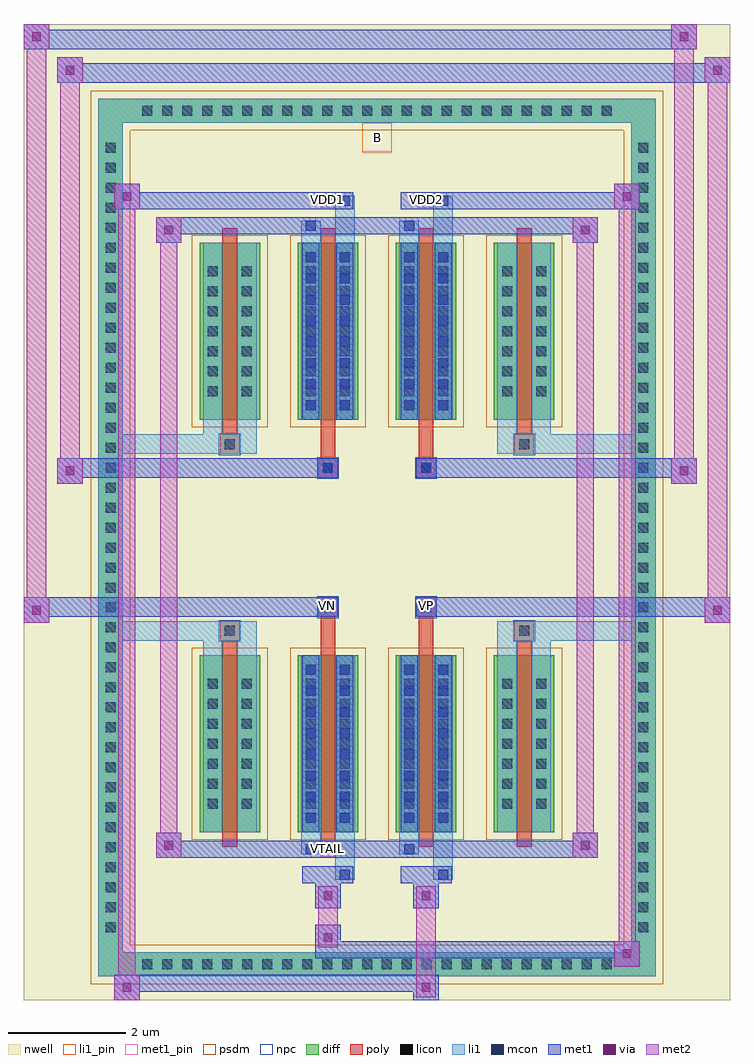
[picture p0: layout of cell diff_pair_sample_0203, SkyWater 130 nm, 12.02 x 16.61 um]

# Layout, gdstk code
import gdstk
lib = gdstk.Library(unit=1e-6, precision=5e-09)
def R(c, l, rs):  # rectangles x0, y0, x1, y1
    for r in rs: c.add(gdstk.rectangle(r[:2], r[2:], *l))
def A(c, l, x, y, w, h, nx, ny, dx, dy):  # array of equal rectangles
    R(c, l, [(x+i*dx, y+j*dy, x+i*dx+w, y+j*dy+h) for i in range(nx) for j in range(ny)])
def P(c, l, *ps):  # polygons
    for p in ps: c.add(gdstk.Polygon(p, *l))
nwell = (64, 20)
diff = (65, 20)
poly = (66, 20)
licon = (66, 44)
li1_pin = (67, 16)
li1 = (67, 20)
mcon = (67, 44)
met1_pin = (68, 16)
met1 = (68, 20)
via = (68, 44)
met2 = (69, 20)
psdm = (94, 20)
npc = (95, 20)

diff_pair_sample_0203 = lib.new_cell('diff_pair_sample_0203')
R(diff_pair_sample_0203, nwell, [(-6.01,-7.87,6.01,8.74), (-3.33,-6.06,-0.01,-0.82), (0.01,-6.06,3.33,-0.82), (-3.33,0.82,-0.01,6.06), (0.01,0.82,3.33,6.06)])
A(diff_pair_sample_0203, diff, -4.115, -7.47, 0.41, 0.41, 24, 2, 0.34, 14.53)
A(diff_pair_sample_0203, diff, -4.74, -6.835, 0.41, 0.41, 1, 40, 0, 0.34)
A(diff_pair_sample_0203, diff, 4.33, -6.835, 0.41, 0.41, 1, 40, 0, 0.34)
A(diff_pair_sample_0203, diff, -3.02, -5.015, 1.03, 3.01, 4, 2, 1.67, 7.02)
R(diff_pair_sample_0203, diff, [(-4.115,-7.47,4.115,-7.06), (-4.74,-6.835,-4.33,6.835), (4.33,-6.835,4.74,6.835), (-4.115,7.06,4.115,7.47)])
P(diff_pair_sample_0203, diff, [(4.74,7.47),(-4.74,7.47),(-4.74,-7.06),(-4.33,-7.06),(-4.33,7.06),(4.33,7.06),(4.33,-7.06),(-4.33,-7.06),(-4.74,-7.06),(-4.74,-7.47),(4.74,-7.47)])
A(diff_pair_sample_0203, poly, -2.63, -5.265, 0.25, 3.51, 4, 2, 1.67, 7.02)
R(diff_pair_sample_0203, poly, [(-2.67,-1.755,-2.34,-1.425), (-2.67,-1.755,-2.34,-1.425), (-0.96,-1.755,-0.71,-1.35), (0.71,-1.755,0.96,-1.35), (2.34,-1.755,2.67,-1.425), (2.34,-1.755,2.67,-1.425), (-1,-1.35,-0.67,-1.02), (-1,-1.35,-0.67,-1.02), (0.67,-1.35,1,-1.02), (0.67,-1.35,1,-1.02), (-1,1.02,-0.67,1.35), (-1,1.02,-0.67,1.35), (0.67,1.02,1,1.35), (0.67,1.02,1,1.35), (-0.96,1.35,-0.71,1.755), (0.71,1.35,0.96,1.755), (-2.67,1.425,-2.34,1.755), (-2.67,1.425,-2.34,1.755), (2.34,1.425,2.67,1.755), (2.34,1.425,2.67,1.755)])
A(diff_pair_sample_0203, licon, -3.995, -7.35, 0.17, 0.17, 24, 2, 0.34, 14.53)
A(diff_pair_sample_0203, licon, -4.62, -6.715, 0.17, 0.17, 1, 40, 0, 0.34)
A(diff_pair_sample_0203, licon, 4.45, -6.715, 0.17, 0.17, 1, 40, 0, 0.34)
A(diff_pair_sample_0203, licon, -2.88, -4.615, 0.17, 0.17, 1, 7, 0, 0.34)
A(diff_pair_sample_0203, licon, -2.3, -4.615, 0.17, 0.17, 1, 7, 0, 0.34)
A(diff_pair_sample_0203, licon, -1.21, -4.615, 0.17, 0.17, 1, 7, 0, 0.34)
A(diff_pair_sample_0203, licon, -0.63, -4.615, 0.17, 0.17, 1, 7, 0, 0.34)
A(diff_pair_sample_0203, licon, 0.46, -4.615, 0.17, 0.17, 1, 7, 0, 0.34)
A(diff_pair_sample_0203, licon, 1.04, -4.615, 0.17, 0.17, 1, 7, 0, 0.34)
A(diff_pair_sample_0203, licon, 2.13, -4.615, 0.17, 0.17, 1, 7, 0, 0.34)
A(diff_pair_sample_0203, licon, 2.71, -4.615, 0.17, 0.17, 1, 7, 0, 0.34)
A(diff_pair_sample_0203, licon, -2.88, 2.405, 0.17, 0.17, 1, 7, 0, 0.34)
A(diff_pair_sample_0203, licon, -2.3, 2.405, 0.17, 0.17, 1, 7, 0, 0.34)
A(diff_pair_sample_0203, licon, -1.21, 2.405, 0.17, 0.17, 1, 7, 0, 0.34)
A(diff_pair_sample_0203, licon, -0.63, 2.405, 0.17, 0.17, 1, 7, 0, 0.34)
A(diff_pair_sample_0203, licon, 0.46, 2.405, 0.17, 0.17, 1, 7, 0, 0.34)
A(diff_pair_sample_0203, licon, 1.04, 2.405, 0.17, 0.17, 1, 7, 0, 0.34)
A(diff_pair_sample_0203, licon, 2.13, 2.405, 0.17, 0.17, 1, 7, 0, 0.34)
A(diff_pair_sample_0203, licon, 2.71, 2.405, 0.17, 0.17, 1, 7, 0, 0.34)
R(diff_pair_sample_0203, licon, [(-2.59,-1.675,-2.42,-1.505), (2.42,-1.675,2.59,-1.505), (-0.92,-1.27,-0.75,-1.1), (0.75,-1.27,0.92,-1.1), (-0.92,1.1,-0.75,1.27), (0.75,1.1,0.92,1.27), (-2.59,1.505,-2.42,1.675), (2.42,1.505,2.59,1.675)])
R(diff_pair_sample_0203, li1_pin, [(-0.25,6.56,0.25,7.06)])
A(diff_pair_sample_0203, li1, -4.075, -7.43, 0.33, 0.33, 24, 2, 0.34, 14.53)
A(diff_pair_sample_0203, li1, -4.7, -6.795, 0.33, 0.33, 1, 40, 0, 0.34)
A(diff_pair_sample_0203, li1, 4.37, -6.795, 0.33, 0.33, 1, 40, 0, 0.34)
A(diff_pair_sample_0203, li1, -1.21, -4.855, 0.17, 0.17, 1, 8, 0, 0.36)
A(diff_pair_sample_0203, li1, -0.63, -4.855, 0.17, 0.17, 1, 8, 0, 0.36)
A(diff_pair_sample_0203, li1, 0.46, -4.855, 0.17, 0.17, 1, 8, 0, 0.36)
A(diff_pair_sample_0203, li1, 1.04, -4.855, 0.17, 0.17, 1, 8, 0, 0.36)
A(diff_pair_sample_0203, li1, -2.96, -4.695, 0.33, 0.33, 1, 7, 0, 0.34)
A(diff_pair_sample_0203, li1, -2.38, -4.695, 0.33, 0.33, 1, 7, 0, 0.34)
A(diff_pair_sample_0203, li1, -1.29, -4.695, 0.33, 0.33, 1, 7, 0, 0.34)
A(diff_pair_sample_0203, li1, -0.71, -4.695, 0.33, 0.33, 1, 7, 0, 0.34)
A(diff_pair_sample_0203, li1, 0.38, -4.695, 0.33, 0.33, 1, 7, 0, 0.34)
A(diff_pair_sample_0203, li1, 0.96, -4.695, 0.33, 0.33, 1, 7, 0, 0.34)
A(diff_pair_sample_0203, li1, 2.05, -4.695, 0.33, 0.33, 1, 7, 0, 0.34)
A(diff_pair_sample_0203, li1, 2.63, -4.695, 0.33, 0.33, 1, 7, 0, 0.34)
A(diff_pair_sample_0203, li1, -1.21, 2.165, 0.17, 0.17, 1, 8, 0, 0.36)
A(diff_pair_sample_0203, li1, -0.63, 2.165, 0.17, 0.17, 1, 8, 0, 0.36)
A(diff_pair_sample_0203, li1, 0.46, 2.165, 0.17, 0.17, 1, 8, 0, 0.36)
A(diff_pair_sample_0203, li1, 1.04, 2.165, 0.17, 0.17, 1, 8, 0, 0.36)
A(diff_pair_sample_0203, li1, -2.96, 2.325, 0.33, 0.33, 1, 7, 0, 0.34)
A(diff_pair_sample_0203, li1, -2.38, 2.325, 0.33, 0.33, 1, 7, 0, 0.34)
A(diff_pair_sample_0203, li1, -1.29, 2.325, 0.33, 0.33, 1, 7, 0, 0.34)
A(diff_pair_sample_0203, li1, -0.71, 2.325, 0.33, 0.33, 1, 7, 0, 0.34)
A(diff_pair_sample_0203, li1, 0.38, 2.325, 0.33, 0.33, 1, 7, 0, 0.34)
A(diff_pair_sample_0203, li1, 0.96, 2.325, 0.33, 0.33, 1, 7, 0, 0.34)
A(diff_pair_sample_0203, li1, 2.05, 2.325, 0.33, 0.33, 1, 7, 0, 0.34)
A(diff_pair_sample_0203, li1, 2.63, 2.325, 0.33, 0.33, 1, 7, 0, 0.34)
R(diff_pair_sample_0203, li1, [(-4.74,-7.47,-4.33,-7.06), (-4.74,-7.47,-4.33,-7.06), (-4.33,-7.47,4.33,-7.06), (4.33,-7.47,4.74,-7.06), (4.33,-7.47,4.74,-7.06), (-4.74,-7.06,-4.33,7.06), (4.33,-7.06,4.74,7.06), (-0.71,-5.82,-0.38,-5.015), (-0.63,-5.82,-0.46,-5.65), (0.96,-5.82,1.29,-5.015), (1.04,-5.82,1.21,-5.65), (-1.29,-5.39,-0.96,-5.015), (-1.21,-5.39,-1.04,-5.22), (0.38,-5.39,0.71,-5.015), (0.46,-5.39,0.63,-5.22), (-2.96,-5.015,-2.63,-2.005), (-2.38,-5.015,-2.05,-2.005), (-1.29,-5.015,-0.96,-2.005), (-0.71,-5.015,-0.38,-2.005), (0.38,-5.015,0.71,-2.005), (0.96,-5.015,1.29,-2.005), (2.05,-5.015,2.38,-2.005), (2.63,-5.015,2.96,-2.005), (-1.21,-4.855,-1.04,-2.165), (-0.63,-4.855,-0.46,-2.165), (0.46,-4.855,0.63,-2.165), (1.04,-4.855,1.21,-2.165), (-2.96,-2.005,-2.63,-1.425), (-2.38,-2.005,-2.05,-1.425), (2.05,-2.005,2.38,-1.425), (2.63,-2.005,2.96,-1.425), (-4.74,-1.755,-2.67,-1.425), (-2.96,-1.755,-2.67,-1.425), (-2.67,-1.755,-2.34,-1.425), (-2.34,-1.755,-2.05,-1.425), (2.05,-1.755,2.34,-1.425), (2.34,-1.755,2.67,-1.425), (2.34,-1.755,4.74,-1.425), (2.67,-1.755,2.96,-1.425), (-1,-1.35,-0.67,-1.02), (0.67,-1.35,1,-1.02), (-1,1.02,-0.67,1.35), (0.67,1.02,1,1.35), (-4.74,1.425,-2.67,1.755), (-2.96,1.425,-2.67,1.755), (-2.96,1.425,-2.63,2.005), (-2.67,1.425,-2.34,1.755), (-2.38,1.425,-2.05,2.005), (-2.34,1.425,-2.05,1.755), (2.05,1.425,2.34,1.755), (2.05,1.425,2.38,2.005), (2.34,1.425,2.67,1.755), (2.34,1.425,4.74,1.755), (2.63,1.425,2.96,2.005), (2.67,1.425,2.96,1.755), (-2.96,2.005,-2.63,5.015), (-2.38,2.005,-2.05,5.015), (-1.29,2.005,-0.96,5.015), (-0.71,2.005,-0.38,5.015), (0.38,2.005,0.71,5.015), (0.96,2.005,1.29,5.015), (2.05,2.005,2.38,5.015), (2.63,2.005,2.96,5.015), (-1.21,2.165,-1.04,4.855), (-0.63,2.165,-0.46,4.855), (0.46,2.165,0.63,4.855), (1.04,2.165,1.21,4.855), (-1.29,5.015,-0.96,5.39), (-0.71,5.015,-0.38,5.82), (0.38,5.015,0.71,5.39), (0.96,5.015,1.29,5.82), (-1.21,5.22,-1.04,5.39), (0.46,5.22,0.63,5.39), (-0.63,5.65,-0.46,5.82), (1.04,5.65,1.21,5.82), (-4.74,7.06,-4.33,7.47), (-4.74,7.06,-4.33,7.47), (-4.33,7.06,4.33,7.47), (4.33,7.06,4.74,7.47), (4.33,7.06,4.74,7.47)])
A(diff_pair_sample_0203, mcon, -1.21, -4.855, 0.17, 0.17, 1, 8, 0, 0.36)
A(diff_pair_sample_0203, mcon, -0.63, -4.855, 0.17, 0.17, 1, 8, 0, 0.36)
A(diff_pair_sample_0203, mcon, 0.46, -4.855, 0.17, 0.17, 1, 8, 0, 0.36)
A(diff_pair_sample_0203, mcon, 1.04, -4.855, 0.17, 0.17, 1, 8, 0, 0.36)
A(diff_pair_sample_0203, mcon, -1.21, 2.165, 0.17, 0.17, 1, 8, 0, 0.36)
A(diff_pair_sample_0203, mcon, -0.63, 2.165, 0.17, 0.17, 1, 8, 0, 0.36)
A(diff_pair_sample_0203, mcon, 0.46, 2.165, 0.17, 0.17, 1, 8, 0, 0.36)
A(diff_pair_sample_0203, mcon, 1.04, 2.165, 0.17, 0.17, 1, 8, 0, 0.36)
R(diff_pair_sample_0203, mcon, [(-0.63,-5.82,-0.46,-5.65), (1.04,-5.82,1.21,-5.65), (-1.21,-5.39,-1.04,-5.22), (0.46,-5.39,0.63,-5.22), (-0.92,-1.27,-0.75,-1.1), (0.75,-1.27,0.92,-1.1), (-0.92,1.1,-0.75,1.27), (0.75,1.1,0.92,1.27), (-1.21,5.22,-1.04,5.39), (0.46,5.22,0.63,5.39), (-0.63,5.65,-0.46,5.82), (1.04,5.65,1.21,5.82)])
R(diff_pair_sample_0203, met1_pin, [(-0.97,-5.43,-0.7,-5.16), (-0.97,-1.29,-0.7,-1.02), (0.7,-1.29,0.97,-1.02), (-0.97,5.61,-0.7,5.88), (0.7,5.61,0.97,5.88)])
A(diff_pair_sample_0203, met1, -1.27, -4.915, 0.29, 0.29, 1, 8, 0, 0.36)
A(diff_pair_sample_0203, met1, -0.69, -4.915, 0.29, 0.29, 1, 8, 0, 0.36)
A(diff_pair_sample_0203, met1, 0.4, -4.915, 0.29, 0.29, 1, 8, 0, 0.36)
A(diff_pair_sample_0203, met1, 0.98, -4.915, 0.29, 0.29, 1, 8, 0, 0.36)
A(diff_pair_sample_0203, met1, -1.27, 2.105, 0.29, 0.29, 1, 8, 0, 0.36)
A(diff_pair_sample_0203, met1, -0.69, 2.105, 0.29, 0.29, 1, 8, 0, 0.36)
A(diff_pair_sample_0203, met1, 0.4, 2.105, 0.29, 0.29, 1, 8, 0, 0.36)
A(diff_pair_sample_0203, met1, 0.98, 2.105, 0.29, 0.29, 1, 8, 0, 0.36)
R(diff_pair_sample_0203, met1, [(-4.47,-7.87,-4.04,-7.44), (0.62,-7.87,1.05,-7.44), (-4.47,-7.73,1.05,-7.44), (4.04,-7.3,4.47,-6.87), (-1.05,-7.16,4.47,-6.87), (-1.05,-7.02,-0.62,-6.59), (-1.05,-6.31,-0.62,-5.88), (0.62,-6.31,1.05,-5.88), (-1.27,-5.88,-0.4,-5.59), (-0.69,-5.88,-0.4,-5.59), (0.4,-5.88,1.27,-5.59), (0.98,-5.88,1.27,-5.59), (-3.76,-5.45,-3.33,-5.02), (-3.76,-5.45,-1.27,-5.16), (-1.27,-5.45,-0.98,-5.16), (-1.27,-5.45,-0.4,-5.16), (-0.4,-5.45,0.4,-5.16), (0.4,-5.45,0.69,-5.16), (0.4,-5.45,1.27,-5.16), (1.27,-5.45,3.76,-5.16), (3.33,-5.45,3.76,-5.02), (-1.27,-5.015,-0.98,-2.005), (-0.69,-5.015,-0.4,-2.005), (0.4,-5.015,0.69,-2.005), (0.98,-5.015,1.27,-2.005), (-6.01,-1.45,-5.58,-1.02), (5.58,-1.45,6.01,-1.02), (-6.01,-1.35,-0.67,-1.02), (-1,-1.35,-0.67,-1.02), (0.67,-1.35,1,-1.02), (0.67,-1.35,6.01,-1.02), (-0.98,-1.33,-0.69,-1.04), (0.69,-1.33,0.98,-1.04), (-5.44,0.92,-5.01,1.35), (5.01,0.92,5.44,1.35), (-5.44,1.02,-1,1.35), (-1,1.02,-0.67,1.35), (0.67,1.02,1,1.35), (1,1.02,5.44,1.35), (-0.98,1.04,-0.69,1.33), (0.69,1.04,0.98,1.33), (-1.27,2.005,-0.98,5.015), (-0.69,2.005,-0.4,5.015), (0.4,2.005,0.69,5.015), (0.98,2.005,1.27,5.015), (-3.76,5.02,-3.33,5.45), (3.33,5.02,3.76,5.45), (-3.76,5.16,-1.27,5.45), (-1.27,5.16,-0.98,5.45), (-1.27,5.16,-0.4,5.45), (-0.4,5.16,0.4,5.45), (0.4,5.16,0.69,5.45), (0.4,5.16,1.27,5.45), (1.27,5.16,3.76,5.45), (-4.47,5.59,-4.04,6.02), (-4.47,5.59,-1.27,5.88), (-1.27,5.59,-0.4,5.88), (-0.69,5.59,-0.4,5.88), (0.4,5.59,1.27,5.88), (0.98,5.59,1.27,5.88), (1.27,5.59,4.47,5.88), (4.04,5.59,4.47,6.02), (-5.44,7.74,-5.01,8.17), (-5.44,7.74,-3.33,8.07), (-3.33,7.74,3.33,8.07), (3.33,7.74,6.01,8.07), (5.58,7.74,6.01,8.17), (-6.01,8.31,-5.58,8.74), (-6.01,8.31,-3.33,8.64), (-3.33,8.31,3.33,8.64), (3.33,8.31,5.44,8.64), (5.01,8.31,5.44,8.74)])
R(diff_pair_sample_0203, via, [(-4.33,-7.73,-4.18,-7.58), (0.76,-7.73,0.91,-7.58), (4.18,-7.16,4.33,-7.01), (-0.91,-6.88,-0.76,-6.73), (-0.91,-6.17,-0.76,-6.02), (0.76,-6.17,0.91,-6.02), (-3.62,-5.31,-3.47,-5.16), (3.47,-5.31,3.62,-5.16), (-5.87,-1.31,-5.72,-1.16), (5.72,-1.31,5.87,-1.16), (-5.3,1.06,-5.15,1.21), (5.15,1.06,5.3,1.21), (-3.62,5.16,-3.47,5.31), (3.47,5.16,3.62,5.31), (-4.33,5.73,-4.18,5.88), (4.18,5.73,4.33,5.88), (-5.3,7.88,-5.15,8.03), (5.72,7.88,5.87,8.03), (-5.87,8.45,-5.72,8.6), (5.15,8.45,5.3,8.6)])
R(diff_pair_sample_0203, met2, [(-4.47,-7.87,-4.04,-7.44), (-4.4,-7.87,-4.11,6.02), (-4.11,-7.87,-4.04,-7.44), (-4.42,-7.82,-4.09,-7.49), (0.67,-7.82,1,-7.49), (0.67,-7.49,1,-6.26), (4.04,-7.3,4.47,-6.87), (4.11,-7.3,4.4,6.02), (4.4,-7.3,4.47,-6.87), (4.09,-7.25,4.42,-6.92), (-1,-6.97,-0.67,-6.64), (-1,-6.64,-0.67,-6.26), (-1,-6.26,-0.67,-5.93), (0.67,-6.26,1,-5.93), (-3.76,-5.45,-3.33,-5.02), (-3.69,-5.45,-3.4,5.45), (-3.4,-5.45,-3.33,-5.02), (3.33,-5.45,3.76,-5.02), (3.4,-5.45,3.69,5.45), (3.69,-5.45,3.76,-5.02), (-3.71,-5.4,-3.38,-5.07), (3.38,-5.4,3.71,-5.07), (-6.01,-1.45,-5.58,-1.02), (-5.96,-1.45,-5.63,8.74), (-5.63,-1.45,-5.58,-1.02), (5.58,-1.45,6.01,-1.02), (5.63,-1.45,5.96,8.17), (5.96,-1.45,6.01,-1.02), (-5.96,-1.4,-5.63,-1.07), (5.63,-1.4,5.96,-1.07), (-5.44,0.92,-5.01,1.35), (-5.39,0.92,-5.06,8.17), (-5.06,0.92,-5.01,1.35), (5.01,0.92,5.44,1.35), (5.06,0.92,5.39,8.74), (5.39,0.92,5.44,1.35), (-5.39,0.97,-5.06,1.3), (5.06,0.97,5.39,1.3), (-3.76,5.02,-3.33,5.45), (-3.4,5.02,-3.33,5.45), (3.33,5.02,3.76,5.45), (3.69,5.02,3.76,5.45), (-3.71,5.07,-3.38,5.4), (3.38,5.07,3.71,5.4), (-4.47,5.59,-4.04,6.02), (-4.11,5.59,-4.04,6.02), (4.04,5.59,4.47,6.02), (4.4,5.59,4.47,6.02), (-4.42,5.64,-4.09,5.97), (4.09,5.64,4.42,5.97), (-5.44,7.74,-5.01,8.17), (-5.06,7.74,-5.01,8.17), (5.58,7.74,6.01,8.17), (5.96,7.74,6.01,8.17), (-5.39,7.79,-5.06,8.12), (5.63,7.79,5.96,8.12), (-6.01,8.31,-5.58,8.74), (-5.63,8.31,-5.58,8.74), (5.01,8.31,5.44,8.74), (5.39,8.31,5.44,8.74), (-5.96,8.36,-5.63,8.69), (5.06,8.36,5.39,8.69)])
A(diff_pair_sample_0203, psdm, -3.15, -5.145, 1.29, 3.27, 4, 2, 1.67, 7.02)
P(diff_pair_sample_0203, psdm, [(4.87,7.6),(-4.87,7.6),(-4.87,-6.93),(-4.2,-6.93),(-4.2,6.93),(4.2,6.93),(4.2,-6.93),(-4.2,-6.93),(-4.87,-6.93),(-4.87,-7.6),(4.87,-7.6)])
R(diff_pair_sample_0203, npc, [(-2.69,-1.775,-2.32,-1.405), (2.32,-1.775,2.69,-1.405), (-1.02,-1.37,-0.65,-1), (0.65,-1.37,1.02,-1), (-1.02,1,-0.65,1.37), (0.65,1,1.02,1.37), (-2.69,1.405,-2.32,1.775), (2.32,1.405,2.69,1.775)])
diff_pair_sample_0203.add(gdstk.Label('VTAIL', (-0.835,-5.295), layer=68, texttype=5))
diff_pair_sample_0203.add(gdstk.Label('VN', (-0.835,-1.155), layer=68, texttype=5))
diff_pair_sample_0203.add(gdstk.Label('VP', (0.835,-1.155), layer=68, texttype=5))
diff_pair_sample_0203.add(gdstk.Label('B', (0,6.81), layer=67, texttype=5))
diff_pair_sample_0203.add(gdstk.Label('VDD2', (0.835,5.745), layer=68, texttype=5))
diff_pair_sample_0203.add(gdstk.Label('VDD1', (-0.835,5.745), layer=68, texttype=5))

lib.write_gds('diff_pair_sample_0203.gds')
